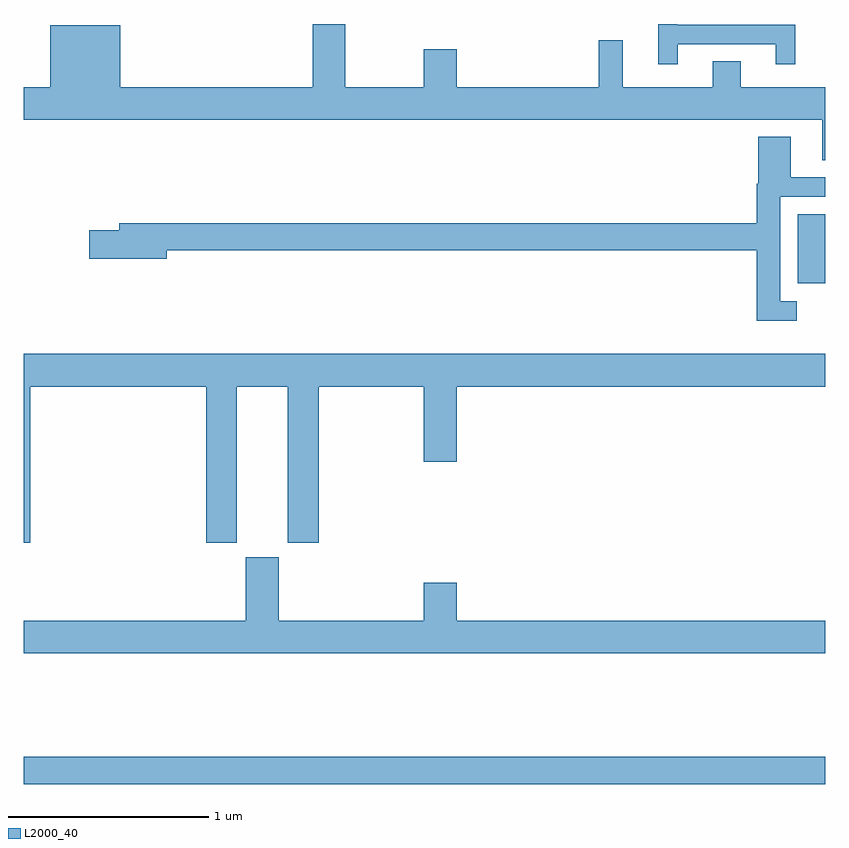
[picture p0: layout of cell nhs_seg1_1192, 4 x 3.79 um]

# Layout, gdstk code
import gdstk
lib = gdstk.Library(unit=1e-6, precision=1e-09)
def R(c, l, rs):  # rectangles x0, y0, x1, y1
    for r in rs: c.add(gdstk.rectangle(r[:2], r[2:], *l))
def P(c, l, *ps):  # polygons
    for p in ps: c.add(gdstk.Polygon(p, *l))
L2000_40 = (2000, 40)

nhs_seg1_1192 = lib.new_cell('nhs_seg1_1192')
R(nhs_seg1_1192, L2000_40, [(175,560.404,179,560.54), (178.865,562.904,179,563.248)])
P(nhs_seg1_1192, L2000_40, [(178.264,564.099),(178.754,564.099),(178.754,563.997),(178.852,563.997),(178.852,564.195),(178.263,564.195),(178.263,564.199),(178.167,564.199),(178.167,563.997),(178.264,563.997)],
  [(179,563.884),(178.579,563.884),(178.579,564.014),(178.439,564.014),(178.439,563.884),(177.989,563.884),(177.989,564.118),(177.871,564.118),(177.871,563.884),(177.16,563.884),(177.16,564.073),(176.996,564.073),(176.996,563.884),(176.605,563.884),(176.605,564.199),(176.441,564.199),(176.441,563.884),(175.48,563.884),(175.48,564.193),(175.13,564.193),(175.13,563.884),(175,563.884),(175,563.72),(178.985,563.72),(178.985,563.518),(179,563.518)],
  [(178.858,562.815),(178.776,562.815),(178.776,563.337),(179,563.337),(179,563.433),(178.828,563.433),(178.828,563.635),(178.667,563.635),(178.667,563.402),(178.66,563.402),(178.66,563.204),(175.475,563.204),(175.475,563.168),(175.326,563.168),(175.326,563.026),(175.714,563.026),(175.714,563.068),(178.66,563.068),(178.66,562.718),(178.858,562.718)],
  [(175.031,562.388),(175.91,562.388),(175.91,561.609),(176.062,561.609),(176.062,562.388),(176.318,562.388),(176.318,561.609),(176.471,561.609),(176.471,562.388),(176.996,562.388),(176.996,562.014),(177.16,562.014),(177.16,562.388),(179,562.388),(179,562.552),(175,562.552),(175,561.609),(175.031,561.609)],
  [(179,561.22),(177.16,561.22),(177.16,561.409),(176.996,561.409),(176.996,561.22),(176.272,561.22),(176.272,561.537),(176.108,561.537),(176.108,561.22),(175,561.22),(175,561.056),(179,561.056)])

lib.write_gds('nhs_seg1_1192.gds')
